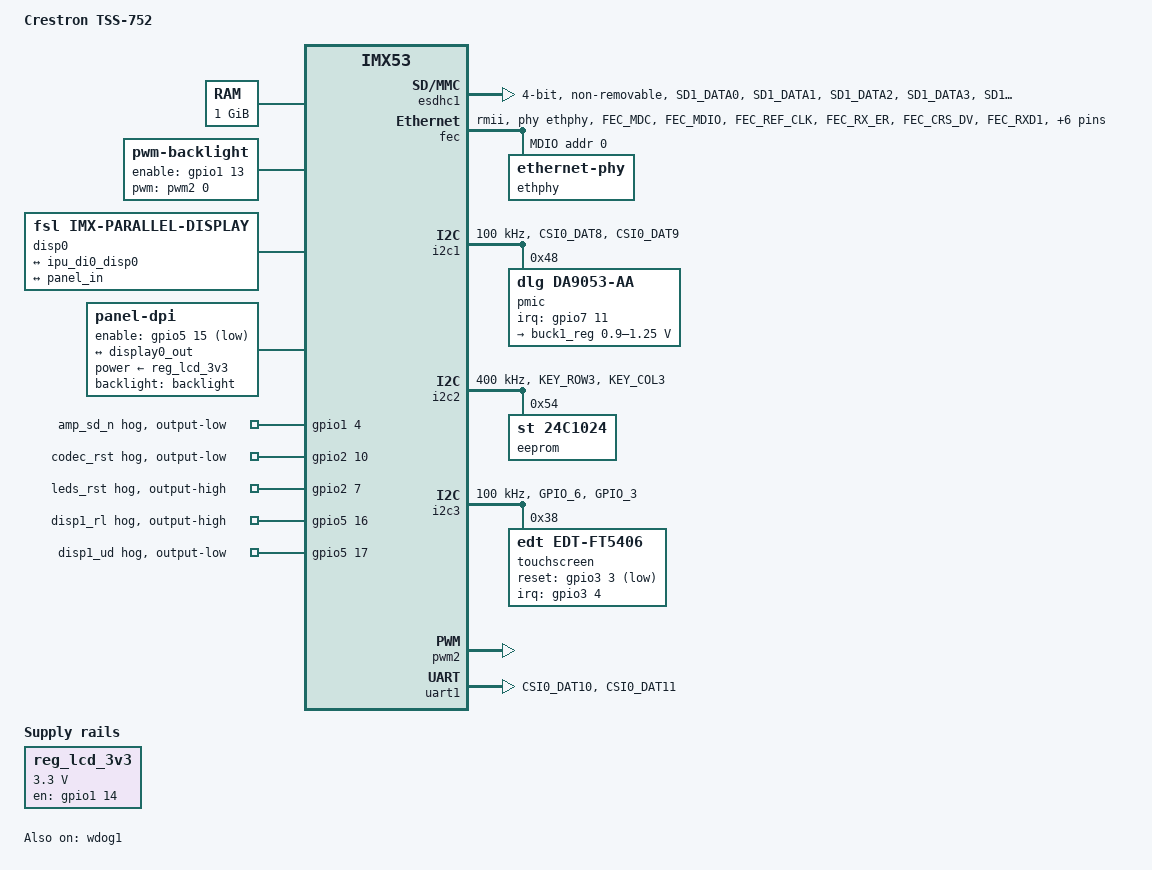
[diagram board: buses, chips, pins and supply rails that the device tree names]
// SPDX-License-Identifier: GPL-2.0-or-later
/*
 * Crestron TSS-752 (xx50 family), first-light device tree.
 *
 * The board is a variant of the Freescale i.MX53 SMD reference design
 * (imx53-smd.dts). The vendor Linux 3.0.15 kernel runs the "TSM750" board
 * path for this panel (product ID 0x26). The values below come from that
 * kernel binary (pad tables, gpio_request calls, platform data and the mode
 * table) and from its boot log. Tags in the comments:
 *   DECODED  read directly from the vendor kernel code or data
 *   LIKELY   a strong inference
 *   GUESS    not checked, test on the panel
 *   TESTED   checked on the panel
 *
 * Pads with the value 0x80000000 keep the pad control value that U-Boot or
 * the reset left. The vendor kernel also set no pad control for these pads.
 *
 * The stock U-Boot 2009.08 has no FDT support. The DTB is appended to the
 * zImage (CONFIG_ARM_APPENDED_DTB) and the decompressor merges the ATAG
 * memory banks into it (CONFIG_ARM_ATAG_DTB_COMPAT).
 */

/dts-v1/;
#include <dt-bindings/pwm/pwm.h>
#include "imx53.dtsi"

/ {
	model = "Crestron TSS-752";
	compatible = "crestron,tss752", "fsl,imx53";

	chosen {
		stdout-path = &uart1;
	};

	/* Two banks of 512 MiB: U-Boot bdinfo (DECODED). The ATAGs replace it. */
	memory@70000000 {
		device_type = "memory";
		reg = <0x70000000 0x20000000>,
		      <0xb0000000 0x20000000>;
	};

	reserved-memory {
		#address-cells = <1>;
		#size-cells = <1>;
		ranges;

		/*
		 * Kernel log for the next boot after a crash or a watchdog
		 * reset. The top MiB of bank 0. Neither the vendor kernel nor
		 * U-Boot is known to use it (GUESS).
		 */
		ramoops@8ff00000 {
			compatible = "ramoops";
			reg = <0x8ff00000 0x100000>;
			record-size = <0x20000>;
			console-size = <0x40000>;
			pmsg-size = <0x20000>;
			ecc-size = <16>;
		};
	};

	/* Panel logic supply, "disp1-power-3V3" on GPIO1_14, active high (DECODED). */
	reg_lcd_3v3: regulator-lcd-3v3 {
		compatible = "regulator-fixed";
		regulator-name = "disp1-power-3v3";
		regulator-min-microvolt = <3300000>;
		regulator-max-microvolt = <3300000>;
		gpio = <&gpio1 14 GPIO_ACTIVE_HIGH>;
		enable-active-high;
		/* The vendor waits 15 ms before it enables the buffer (DECODED). */
		startup-delay-us = <15000>;
	};

	backlight: backlight {
		compatible = "pwm-backlight";
		pinctrl-names = "default";
		pinctrl-0 = <&pinctrl_backlight>;
		/*
		 * PWM2, 50000 ns (20 kHz), DECODED. The vendor driver inverts
		 * the duty cycle for this product (DECODED); the mapping to
		 * PWM_POLARITY_INVERTED is LIKELY.
		 */
		pwms = <&pwm2 0 50000 PWM_POLARITY_INVERTED>;
		brightness-levels = <0 255>;
		num-interpolated-steps = <255>;
		default-brightness-level = <204>;
		/* "disp1-bklt_en_3v3" on GPIO1_13, active high (DECODED). */
		enable-gpios = <&gpio1 13 GPIO_ACTIVE_HIGH>;
	};

	disp0: display {
		compatible = "fsl,imx-parallel-display";
		/* IPU DI0, 18 bit on DISP0_DAT0..17 (DECODED). "bgr666" selects RGB666_1X18. */
		interface-pix-fmt = "bgr666";
		pinctrl-names = "default";
		pinctrl-0 = <&pinctrl_disp0>;
		#address-cells = <1>;
		#size-cells = <0>;

		port@0 {
			reg = <0>;

			display0_in: endpoint {
				remote-endpoint = <&ipu_di0_disp0>;
			};
		};

		port@1 {
			reg = <1>;

			display0_out: endpoint {
				remote-endpoint = <&panel_in>;
			};
		};
	};

	panel: panel {
		compatible = "panel-dpi";
		power-supply = <&reg_lcd_3v3>;
		backlight = <&backlight>;
		/* "lcd_buff_en_2v775" on GPIO5_15, active low (DECODED). */
		enable-gpios = <&gpio5 15 GPIO_ACTIVE_LOW>;
		/* 7 inch WVGA (GUESS for the size). */
		width-mm = <154>;
		height-mm = <86>;

		/* Vendor mode "TSW750-WVGA" (DECODED). */
		panel-timing {
			clock-frequency = <33264000>;
			hactive = <800>;
			vactive = <480>;
			hback-porch = <88>;
			hfront-porch = <40>;
			hsync-len = <128>;
			vback-porch = <33>;
			vfront-porch = <10>;
			vsync-len = <2>;
			/* Sync active low, DE active high (LIKELY). */
			hsync-active = <0>;
			vsync-active = <0>;
			de-active = <1>;
			/* The vendor sets clk_pol=1 (DECODED), pixelclk-active=1 (LIKELY). */
			pixelclk-active = <1>;
		};

		port {
			panel_in: endpoint {
				remote-endpoint = <&display0_out>;
			};
		};
	};
};

&cpu0 {
	cpu-supply = <&buck1_reg>;
	/*
	 * The vendor operating points for this CPU (DECODED): the mx53
	 * cpu_op table for 1 GHz parts. The vendor kernel selects this
	 * table because U-Boot starts the CPU at more than 800 MHz and not
	 * more than 1 GHz (TESTED: 1 GHz). The voltages are the exact vendor
	 * values, so there is no voltage tolerance.
	 *
	 * TESTED with cpufreq-dt: all seven points switch, and vddgp reads
	 * the vendor voltage at each point. A CPU-bound loop takes 1.25 times
	 * longer at 800 MHz and 1.66 times longer at 600 MHz than at 1 GHz.
	 * Five minutes of full load at 1 GHz and 1.25 V gave no kernel
	 * message and no watchdog reset.
	 */
	/delete-property/ voltage-tolerance;
	operating-points = <
		/* kHz    uV */
		1000000 1250000
		 900000 1250000
		 800000 1100000
		 600000 1100000
		 400000  950000
		 333000  950000
		 167000  900000
	>;
};

&ipu_di0_disp0 {
	remote-endpoint = <&display0_in>;
};

&iomuxc {
	pinctrl-names = "default";
	pinctrl-0 = <&pinctrl_hog>;

	pinctrl_hog: hoggrp {
		fsl,pins = <
			/* Scan direction straps of the panel: RL, UD (DECODED pins, LIKELY use) */
			MX53_PAD_DISP0_DAT22__GPIO5_16		0x80000000
			MX53_PAD_DISP0_DAT23__GPIO5_17		0x80000000
			/* Amplifier shutdown and codec reset, both held low as in the vendor kernel (DECODED) */
			MX53_PAD_GPIO_4__GPIO1_4		0x80000000
			MX53_PAD_PATA_DATA10__GPIO2_10		0x80000000
			/* TLC59116 key LED reset (DECODED) */
			MX53_PAD_PATA_DATA7__GPIO2_7		0x80000000
			/* Probably the PHY interrupt, not used (LIKELY) */
			MX53_PAD_PATA_DATA4__GPIO2_4		0x80000000
		>;
	};

	pinctrl_backlight: backlightgrp {
		fsl,pins = <
			MX53_PAD_GPIO_1__PWM2_PWMO		0x80000000
			MX53_PAD_SD2_DATA2__GPIO1_13		0x80000000
		>;
	};

	pinctrl_disp0: disp0grp {
		fsl,pins = <
			MX53_PAD_DI0_DISP_CLK__IPU_DI0_DISP_CLK	0x80000000
			MX53_PAD_DI0_PIN15__IPU_DI0_PIN15	0x80000000
			MX53_PAD_DI0_PIN2__IPU_DI0_PIN2		0x80000000
			MX53_PAD_DI0_PIN3__IPU_DI0_PIN3		0x80000000
			MX53_PAD_DISP0_DAT0__IPU_DISP0_DAT_0	0x80000000
			MX53_PAD_DISP0_DAT1__IPU_DISP0_DAT_1	0x80000000
			MX53_PAD_DISP0_DAT2__IPU_DISP0_DAT_2	0x80000000
			MX53_PAD_DISP0_DAT3__IPU_DISP0_DAT_3	0x80000000
			MX53_PAD_DISP0_DAT4__IPU_DISP0_DAT_4	0x80000000
			MX53_PAD_DISP0_DAT5__IPU_DISP0_DAT_5	0x80000000
			MX53_PAD_DISP0_DAT6__IPU_DISP0_DAT_6	0x80000000
			MX53_PAD_DISP0_DAT7__IPU_DISP0_DAT_7	0x80000000
			MX53_PAD_DISP0_DAT8__IPU_DISP0_DAT_8	0x80000000
			MX53_PAD_DISP0_DAT9__IPU_DISP0_DAT_9	0x80000000
			MX53_PAD_DISP0_DAT10__IPU_DISP0_DAT_10	0x80000000
			MX53_PAD_DISP0_DAT11__IPU_DISP0_DAT_11	0x80000000
			MX53_PAD_DISP0_DAT12__IPU_DISP0_DAT_12	0x80000000
			MX53_PAD_DISP0_DAT13__IPU_DISP0_DAT_13	0x80000000
			MX53_PAD_DISP0_DAT14__IPU_DISP0_DAT_14	0x80000000
			MX53_PAD_DISP0_DAT15__IPU_DISP0_DAT_15	0x80000000
			MX53_PAD_DISP0_DAT16__IPU_DISP0_DAT_16	0x80000000
			MX53_PAD_DISP0_DAT17__IPU_DISP0_DAT_17	0x80000000
			/* Panel supply and buffer enable (DECODED) */
			MX53_PAD_SD2_DATA1__GPIO1_14		0x80000000
			MX53_PAD_DISP0_DAT21__GPIO5_15		0x80000000
		>;
	};

	pinctrl_esdhc1: esdhc1grp {
		fsl,pins = <
			MX53_PAD_SD1_DATA0__ESDHC1_DAT0		0x1d5
			MX53_PAD_SD1_DATA1__ESDHC1_DAT1		0x1d5
			MX53_PAD_SD1_DATA2__ESDHC1_DAT2		0x1d5
			MX53_PAD_SD1_DATA3__ESDHC1_DAT3		0x1d5
			MX53_PAD_SD1_CMD__ESDHC1_CMD		0x1d5
			MX53_PAD_SD1_CLK__ESDHC1_CLK		0x1d5
		>;
	};

	pinctrl_fec: fecgrp {
		fsl,pins = <
			MX53_PAD_FEC_MDC__FEC_MDC		0x80000000
			MX53_PAD_FEC_MDIO__FEC_MDIO		0x80000000
			MX53_PAD_FEC_REF_CLK__FEC_TX_CLK	0x80000000
			MX53_PAD_FEC_RX_ER__FEC_RX_ER		0x80000000
			MX53_PAD_FEC_CRS_DV__FEC_RX_DV		0x80000000
			MX53_PAD_FEC_RXD1__FEC_RDATA_1		0x80000000
			MX53_PAD_FEC_RXD0__FEC_RDATA_0		0x80000000
			MX53_PAD_FEC_TX_EN__FEC_TX_EN		0x80000000
			MX53_PAD_FEC_TXD1__FEC_TDATA_1		0x80000000
			MX53_PAD_FEC_TXD0__FEC_TDATA_0		0x80000000
			/* PHY reset (DECODED) */
			MX53_PAD_PATA_DA_0__GPIO7_6		0x80000000
		>;
	};

	pinctrl_i2c1: i2c1grp {
		fsl,pins = <
			MX53_PAD_CSI0_DAT8__I2C1_SDA		0x400001ed
			MX53_PAD_CSI0_DAT9__I2C1_SCL		0x400001ed
		>;
	};

	pinctrl_i2c2: i2c2grp {
		fsl,pins = <
			MX53_PAD_KEY_ROW3__I2C2_SDA		0x400001ed
			MX53_PAD_KEY_COL3__I2C2_SCL		0x400001ed
		>;
	};

	pinctrl_i2c3: i2c3grp {
		fsl,pins = <
			MX53_PAD_GPIO_6__I2C3_SDA		0x400001ed
			MX53_PAD_GPIO_3__I2C3_SCL		0x400001ed
		>;
	};

	pinctrl_pmic: pmicgrp {
		fsl,pins = <
			MX53_PAD_GPIO_16__GPIO7_11		0x80000000
		>;
	};

	pinctrl_touch: touchgrp {
		fsl,pins = <
			MX53_PAD_EIM_DA3__GPIO3_3		0x80000000
			MX53_PAD_EIM_DA4__GPIO3_4		0x80000000
		>;
	};

	pinctrl_uart1: uart1grp {
		fsl,pins = <
			MX53_PAD_CSI0_DAT10__UART1_TXD_MUX	0x1c5
			MX53_PAD_CSI0_DAT11__UART1_RXD_MUX	0x1c5
		>;
	};

	pinctrl_wdog1: wdog1grp {
		fsl,pins = <
			MX53_PAD_GPIO_9__WDOG1_WDOG_B		0x80000000
		>;
	};
};

&gpio1 {
	amp-shutdown-hog {
		gpio-hog;
		gpios = <4 GPIO_ACTIVE_HIGH>;
		output-low;
		line-name = "amp_sd_n";
	};
};

&gpio2 {
	codec-reset-hog {
		gpio-hog;
		gpios = <10 GPIO_ACTIVE_HIGH>;
		output-low;
		line-name = "codec_rst";
	};

	/* The vendor releases this reset before it talks to the TLC59116 parts (DECODED). */
	leds-reset-hog {
		gpio-hog;
		gpios = <7 GPIO_ACTIVE_HIGH>;
		output-high;
		line-name = "leds_rst";
	};
};

&gpio5 {
	/* Values as in the vendor kernel: RL high, UD low (DECODED). */
	disp-rl-hog {
		gpio-hog;
		gpios = <16 GPIO_ACTIVE_HIGH>;
		output-high;
		line-name = "disp1_rl";
	};

	disp-ud-hog {
		gpio-hog;
		gpios = <17 GPIO_ACTIVE_HIGH>;
		output-low;
		line-name = "disp1_ud";
	};
};

/* The boot card. The vendor uses GPIO3_13 as card detect, but the slot is
 * the boot device, so the card is always present. */
&esdhc1 {
	pinctrl-names = "default";
	pinctrl-0 = <&pinctrl_esdhc1>;
	bus-width = <4>;
	non-removable;
	no-1-8-v;
	status = "okay";
};

&fec {
	pinctrl-names = "default";
	pinctrl-0 = <&pinctrl_fec>;
	/* RMII, the 50 MHz reference enters on FEC_REF_CLK (DECODED). */
	phy-mode = "rmii";
	/* Active low pulse of 1 ms (DECODED). */
	phy-reset-gpios = <&gpio7 6 GPIO_ACTIVE_LOW>;
	phy-reset-duration = <1>;
	phy-handle = <&ethphy>;
	status = "okay";

	mdio {
		#address-cells = <1>;
		#size-cells = <0>;

		/* MDIO address 0, generic PHY, no interrupt (vendor boot log). */
		ethphy: ethernet-phy@0 {
			reg = <0>;
		};
	};
};

&i2c1 {
	pinctrl-names = "default";
	pinctrl-0 = <&pinctrl_i2c1>;
	clock-frequency = <100000>;
	status = "okay";

	/* DA9053 at 0x48, IRQ on GPIO7_11 level low (DECODED). */
	pmic: pmic@48 {
		compatible = "dlg,da9053-aa", "dlg,da9052";
		reg = <0x48>;
		pinctrl-names = "default";
		pinctrl-0 = <&pinctrl_pmic>;
		interrupt-parent = <&gpio7>;
		interrupts = <11 IRQ_TYPE_LEVEL_LOW>;
		/*
		 * The TSI pins are not a touch screen here. There is no
		 * "dlg,tsi-as-adc": its reference supply is not known. Without
		 * the flag, the hwmon driver probes and gives the ADC voltages
		 * (TESTED). The junction temperature (temp8) is not valid: the
		 * PMIC does not measure it on this board, the result register
		 * stays 0 (TESTED).
		 */

		/*
		 * The vendor kernel (DA9052 platform data of its imx53_smd
		 * board file) gives one consumer: BUCKCORE supplies
		 * "cpu_vddgp" (DECODED). The vendor kernel sets no voltage on
		 * the other rails and has no consumer for them (DECODED). Their
		 * use on this board is not known, so they stay as U-Boot set
		 * them: no voltage limits (the kernel cannot change the
		 * voltage) and always on (the kernel never switches them off).
		 * Voltages at boot (TESTED, read on the panel): buck2 1.3 V,
		 * buck3 1.225 V, buck4 2.5 V, ldo1 1.3 V, ldo2 1.3 V,
		 * ldo3 3.3 V, ldo4 2.775 V, ldo5 1.3 V, ldo6 1.3 V,
		 * ldo7 2.75 V, ldo8 1.8 V, ldo9 1.5 V, ldo10 1.3 V.
		 */
		regulators {
			/*
			 * VDDGP, the CPU core (DECODED). U-Boot starts the CPU
			 * at 1 GHz with 1.25 V (TESTED), the vendor value for
			 * 1 GHz. The limits are the lowest and the highest
			 * voltage of the vendor operating points (DECODED), so
			 * the kernel never sets a value outside of them.
			 */
			buck1_reg: buck1 {
				regulator-name = "vddgp";
				regulator-min-microvolt = <900000>;
				regulator-max-microvolt = <1250000>;
				regulator-always-on;
			};

			buck2 {
				regulator-always-on;
			};

			buck3 {
				regulator-always-on;
			};

			buck4 {
				regulator-always-on;
			};

			ldo1 {
				regulator-always-on;
			};

			ldo2 {
				regulator-always-on;
			};

			ldo3 {
				regulator-always-on;
			};

			ldo4 {
				regulator-always-on;
			};

			ldo5 {
				regulator-always-on;
			};

			ldo6 {
				regulator-always-on;
			};

			ldo7 {
				regulator-always-on;
			};

			ldo8 {
				regulator-always-on;
			};

			ldo9 {
				regulator-always-on;
			};

			ldo10 {
				regulator-always-on;
			};
		};
	};

	/* Key LED drivers TLC59116 at 0x60 and 0x61 (DECODED). No nodes yet. */
};

&i2c2 {
	pinctrl-names = "default";
	pinctrl-0 = <&pinctrl_i2c2>;
	clock-frequency = <400000>;
	status = "okay";

	/* TLV320AIC3204 codec at 0x18 (DECODED). No node yet: no audio in first light. */

	/* ST M24M01, 1 Mbit, at 0x54 (DECODED). Read only. */
	eeprom@54 {
		compatible = "st,24c1024", "atmel,24c1024";
		reg = <0x54>;
		pagesize = <256>;
		read-only;
	};
};

&i2c3 {
	pinctrl-names = "default";
	pinctrl-0 = <&pinctrl_i2c3>;
	clock-frequency = <100000>;
	status = "okay";

	/* FocalTech FT5x06 at 0x38 (DECODED). */
	touchscreen@38 {
		compatible = "edt,edt-ft5406";
		reg = <0x38>;
		pinctrl-names = "default";
		pinctrl-0 = <&pinctrl_touch>;
		/* "cap_ts_int_n" GPIO3_4, falling edge (DECODED pin, TESTED trigger). */
		interrupt-parent = <&gpio3>;
		interrupts = <4 IRQ_TYPE_EDGE_FALLING>;
		/* "cap_ts_rst_n" GPIO3_3, active low (DECODED). */
		reset-gpios = <&gpio3 3 GPIO_ACTIVE_LOW>;
		/*
		 * The controller reports as "generic ft5x06" and gives no size,
		 * so the driver uses 0..65535 for each axis. The vendor kernel
		 * (platform data of the "750" boards, also used by the TSS-752)
		 * sets the touch space to x 0..1600 and y 0..1024 (DECODED):
		 * the vendor driver gives these values to Android as the
		 * ABS_MT_POSITION_X and _Y ranges, with no offset. A four-corner
		 * calibration (TESTED) gave top left (15, 40), top right
		 * (1582, 50), bottom right (1585, 976) and bottom left
		 * (39, 968): no axis swap and no inversion. With a height of
		 * 1024, the taps are about the same distance from the top and
		 * from the bottom edge. Free touches reached Y 1020. The height
		 * 1024 is TESTED: a tap on the bottom edge of the picture gave
		 * Y 982, and a tap in the middle gave X 823, Y 458.
		 */
		touchscreen-size-x = <1600>;
		touchscreen-size-y = <1024>;

		/*
		 * Five touch keys right of the picture, not lit. Vendor key
		 * zones (DECODED, crestSoftKeys and the "750" platform data):
		 * a touch with x > 1600 is a key touch. Key N is pressed when
		 * |y - center| < 50. The centers are 77, 300, 521, 732 and 964,
		 * top to bottom. The x range has no upper limit in the vendor
		 * code. Here it ends at 2047. The vendor key codes are
		 * KEY_BACK, KEY_HOME, KEY_MENU, KEY_VOLUMEUP and
		 * KEY_VOLUMEDOWN. This board uses the key codes of the xx60
		 * panels in the same order: KEY_F13..KEY_F17, top to bottom.
		 *
		 * Check (one tap on each key, top to bottom): x 1715..1768,
		 * y 49..108, 306..340, 501..510, 723..728 and 941..947. Each
		 * tap is in its vendor zone.
		 *
		 * TESTED with this overlay: one tap on each key, top to bottom,
		 * gave KEY_F13..KEY_F17 in this order, each a press and a
		 * release, with no touch events. Taps on the picture gave
		 * touch events and no key events. The printed key symbols are
		 * power, home, lights, up and down, top to bottom, the same as
		 * on the xx60 panels.
		 *
		 * The vendor driver also drops small moves for 100 ms after a
		 * touch starts on the picture (20 units), and limits y on the
		 * picture to 1004. The mainline driver does not do this.
		 * Contacts outside the picture and the key zones are dropped.
		 */
		touch-overlay {
			segment-screen {
				label = "screen";
				x-origin = <0>;
				x-size = <1600>;
				y-origin = <0>;
				y-size = <1024>;
			};

			segment-key1 {
				label = "key1";
				linux,code = <KEY_F13>;
				x-origin = <1601>;
				x-size = <447>;
				y-origin = <28>;
				y-size = <99>;
			};

			segment-key2 {
				label = "key2";
				linux,code = <KEY_F14>;
				x-origin = <1601>;
				x-size = <447>;
				y-origin = <251>;
				y-size = <99>;
			};

			segment-key3 {
				label = "key3";
				linux,code = <KEY_F15>;
				x-origin = <1601>;
				x-size = <447>;
				y-origin = <472>;
				y-size = <99>;
			};

			segment-key4 {
				label = "key4";
				linux,code = <KEY_F16>;
				x-origin = <1601>;
				x-size = <447>;
				y-origin = <683>;
				y-size = <99>;
			};

			segment-key5 {
				label = "key5";
				linux,code = <KEY_F17>;
				x-origin = <1601>;
				x-size = <447>;
				y-origin = <915>;
				y-size = <99>;
			};
		};
	};
};

&pwm2 {
	status = "okay";
};

&uart1 {
	pinctrl-names = "default";
	pinctrl-0 = <&pinctrl_uart1>;
	status = "okay";
};

&wdog1 {
	pinctrl-names = "default";
	pinctrl-0 = <&pinctrl_wdog1>;
	status = "okay";
};
